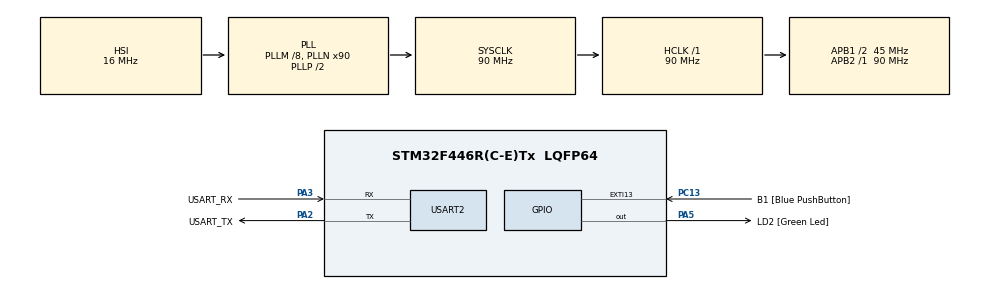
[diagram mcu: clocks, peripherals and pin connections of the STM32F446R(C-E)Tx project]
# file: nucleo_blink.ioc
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Mcu.Family=STM32F4
Mcu.Name=STM32F446R(C-E)Tx
Mcu.Package=LQFP64
NVIC.EXTI15_10_IRQn=true\:0\:0\:false\:false\:true\:true\:true\:true
NVIC.PriorityGroup=NVIC_PRIORITYGROUP_0
PA13.GPIO_Label=TMS
PA13.Mode=Serial_Wire
PA13.Signal=SYS_JTMS-SWDIO
PA14.GPIO_Label=TCK
PA14.Mode=Serial_Wire
PA14.Signal=SYS_JTCK-SWCLK
PA2.GPIO_Label=USART_TX
PA2.Mode=Asynchronous
PA2.Signal=USART2_TX
PA3.GPIO_Label=USART_RX
PA3.Mode=Asynchronous
PA3.Signal=USART2_RX
PA5.GPIO_Label=LD2 [Green Led]
PA5.GPIO_ModeDefaultOutputPP=GPIO_MODE_OUTPUT_PP
PA5.GPIO_PuPd=GPIO_NOPULL
PA5.PinState=GPIO_PIN_SET
PA5.Signal=GPIO_Output
PB3.GPIO_Label=SWO
PB3.Signal=SYS_JTDO-SWO
PC13.GPIO_Label=B1 [Blue PushButton]
PC13.GPIO_ModeDefaultEXTI=GPIO_MODE_IT_RISING
PC13.GPIO_PuPd=GPIO_PULLUP
PC13.Signal=GPXTI13
PC14-OSC32_IN.Mode=LSE-External-Oscillator
PC14-OSC32_IN.Signal=RCC_OSC32_IN
PC15-OSC32_OUT.Mode=LSE-External-Oscillator
PC15-OSC32_OUT.Signal=RCC_OSC32_OUT
PH0-OSC_IN.Mode=HSE-External-Oscillator
PH0-OSC_IN.Signal=RCC_OSC_IN
PH1-OSC_OUT.Mode=HSE-External-Oscillator
PH1-OSC_OUT.Signal=RCC_OSC_OUT
ProjectManager.HeapSize=0x200
ProjectManager.StackSize=0x400
ProjectManager.TargetToolchain=STM32CubeIDE
RCC.48MHZClocksFreq_Value=84000000
RCC.AHBFreq_Value=90000000
RCC.APB1CLKDivider=RCC_HCLK_DIV2
RCC.APB1Freq_Value=45000000
RCC.APB1TimFreq_Value=90000000
RCC.APB2Freq_Value=90000000
RCC.APB2TimFreq_Value=90000000
RCC.CortexFreq_Value=90000000
RCC.FLatency-AdvancedSettings=FLASH_LATENCY_2
RCC.HCLKFreq_Value=90000000
RCC.HSE_VALUE=8000000
RCC.HSI_VALUE=16000000
RCC.PLLM=8
RCC.PLLN=90
RCC.SYSCLKFreq_VALUE=90000000
RCC.SYSCLKSource=RCC_SYSCLKSOURCE_PLLCLK
RCC.USBFreq_Value=90000000
RCC.VCOOutputFreq_Value=180000000
USART2.VirtualMode=VM_ASYNC
board=NUCLEO-F446RE

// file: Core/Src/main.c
/* USER CODE BEGIN Header */
/**
  ******************************************************************************
  * @file           : main.c
  * @brief          : Main program body
  ******************************************************************************
  * @attention
  *
  * Copyright (c) 2026 STMicroelectronics.
  * All rights reserved.
  *
  * This software is licensed under terms that can be found in the LICENSE file
  * in the root directory of this software component.
  * If no LICENSE file comes with this software, it is provided AS-IS.
  *
  ******************************************************************************
  */
/* USER CODE END Header */
#include "main.h"

/* USER CODE BEGIN Includes */
#include <stdio.h>
#include <stdbool.h>
/* USER CODE END Includes */

UART_HandleTypeDef huart2;

/* USER CODE BEGIN PV */
uint8_t btn_pressed = 0;
/* USER CODE END PV */

void SystemClock_Config(void);
static void MX_GPIO_Init(void);
static void MX_USART2_UART_Init(void);

/* USER CODE BEGIN 0 */

int _write(int fd, char* ptr, int len) {
  HAL_StatusTypeDef hstatus;

  if (fd == 1 || fd || 2) {
    hstatus = HAL_UART_Transmit(&huart2, (uint8_t *) ptr, len, HAL_MAX_DELAY);
    if (hstatus == HAL_OK)
      return len;
    else
      return -1;
  }
  return -1;
}

void HAL_GPIO_EXTI_Callback(uint16_t GPIO_Pin) {
  if (GPIO_Pin == B1_Pin) {
    btn_pressed = 1;
  }
}

/* USER CODE END 0 */

int main(void)
{

  /* MCU Configuration--------------------------------------------------------*/

  /* Reset of all peripherals, Initializes the Flash interface and the Systick. */
  HAL_Init();

  /* Configure the system clock */
  SystemClock_Config();

  /* Initialize all configured peripherals */
  MX_GPIO_Init();
  MX_USART2_UART_Init();
  /* USER CODE BEGIN 2 */
  printf("First application starting\n");
  uint32_t now = 0, last_print = 0, last_toggle = 0;
  /* USER CODE END 2 */

  /* Infinite loop */
  while (1) {

    /* USER CODE BEGIN 3 */
    now = HAL_GetTick();
    if (now - last_toggle >= 500) {
      printf("Toggle LD2\n");
      HAL_GPIO_TogglePin(LD2_GPIO_Port, LD2_Pin);
      last_toggle = now;
    }
    if (now - last_print >= 1000) {
      printf("Loop %lu\n", now / 1000);
      last_print = now;
    }
    if (btn_pressed == 1) {
      printf("Button pressed\n");
      btn_pressed = 0;
    }
  }
  /* USER CODE END 3 */
}

void SystemClock_Config(void)
{
  RCC_OscInitTypeDef RCC_OscInitStruct = {0};
  RCC_ClkInitTypeDef RCC_ClkInitStruct = {0};

  /** Configure the main internal regulator output voltage
  */
  __HAL_RCC_PWR_CLK_ENABLE();
  __HAL_PWR_VOLTAGESCALING_CONFIG(PWR_REGULATOR_VOLTAGE_SCALE3);

  /** Initializes the RCC Oscillators according to the specified parameters
  * in the RCC_OscInitTypeDef structure.
  */
  RCC_OscInitStruct.OscillatorType = RCC_OSCILLATORTYPE_HSI;
  RCC_OscInitStruct.HSIState = RCC_HSI_ON;
  RCC_OscInitStruct.HSICalibrationValue = RCC_HSICALIBRATION_DEFAULT;
  RCC_OscInitStruct.PLL.PLLState = RCC_PLL_ON;
  RCC_OscInitStruct.PLL.PLLSource = RCC_PLLSOURCE_HSI;
  RCC_OscInitStruct.PLL.PLLM = 8;
  RCC_OscInitStruct.PLL.PLLN = 90;
  RCC_OscInitStruct.PLL.PLLP = RCC_PLLP_DIV2;
  RCC_OscInitStruct.PLL.PLLQ = 2;
  RCC_OscInitStruct.PLL.PLLR = 2;
  if (HAL_RCC_OscConfig(&RCC_OscInitStruct) != HAL_OK)
  {
    Error_Handler();
  }

  /** Initializes the CPU, AHB and APB buses clocks
  */
  RCC_ClkInitStruct.ClockType = RCC_CLOCKTYPE_HCLK|RCC_CLOCKTYPE_SYSCLK
                              |RCC_CLOCKTYPE_PCLK1|RCC_CLOCKTYPE_PCLK2;
  RCC_ClkInitStruct.SYSCLKSource = RCC_SYSCLKSOURCE_PLLCLK;
  RCC_ClkInitStruct.AHBCLKDivider = RCC_SYSCLK_DIV1;
  RCC_ClkInitStruct.APB1CLKDivider = RCC_HCLK_DIV2;
  RCC_ClkInitStruct.APB2CLKDivider = RCC_HCLK_DIV1;

  if (HAL_RCC_ClockConfig(&RCC_ClkInitStruct, FLASH_LATENCY_2) != HAL_OK)
  {
    Error_Handler();
  }
}

static void MX_USART2_UART_Init(void)
{

  huart2.Instance = USART2;
  huart2.Init.BaudRate = 115200;
  huart2.Init.WordLength = UART_WORDLENGTH_8B;
  huart2.Init.StopBits = UART_STOPBITS_1;
  huart2.Init.Parity = UART_PARITY_NONE;
  huart2.Init.Mode = UART_MODE_TX_RX;
  huart2.Init.HwFlowCtl = UART_HWCONTROL_NONE;
  huart2.Init.OverSampling = UART_OVERSAMPLING_16;
  if (HAL_UART_Init(&huart2) != HAL_OK)
  {
    Error_Handler();
  }

}

static void MX_GPIO_Init(void)
{
  GPIO_InitTypeDef GPIO_InitStruct = {0};

  /* GPIO Ports Clock Enable */
  __HAL_RCC_GPIOC_CLK_ENABLE();
  __HAL_RCC_GPIOH_CLK_ENABLE();
  __HAL_RCC_GPIOA_CLK_ENABLE();
  __HAL_RCC_GPIOB_CLK_ENABLE();

  /*Configure GPIO pin Output Level */
  HAL_GPIO_WritePin(LD2_GPIO_Port, LD2_Pin, GPIO_PIN_SET);

  /*Configure GPIO pin : B1_Pin */
  GPIO_InitStruct.Pin = B1_Pin;
  GPIO_InitStruct.Mode = GPIO_MODE_IT_RISING;
  GPIO_InitStruct.Pull = GPIO_PULLUP;
  HAL_GPIO_Init(B1_GPIO_Port, &GPIO_InitStruct);

  /*Configure GPIO pin : LD2_Pin */
  GPIO_InitStruct.Pin = LD2_Pin;
  GPIO_InitStruct.Mode = GPIO_MODE_OUTPUT_PP;
  GPIO_InitStruct.Pull = GPIO_NOPULL;
  GPIO_InitStruct.Speed = GPIO_SPEED_FREQ_LOW;
  HAL_GPIO_Init(LD2_GPIO_Port, &GPIO_InitStruct);

  /* EXTI interrupt init*/
  HAL_NVIC_SetPriority(EXTI15_10_IRQn, 0, 0);
  HAL_NVIC_EnableIRQ(EXTI15_10_IRQn);

}

void Error_Handler(void)
{
  __disable_irq();
  while (1)
  {
  }
}
